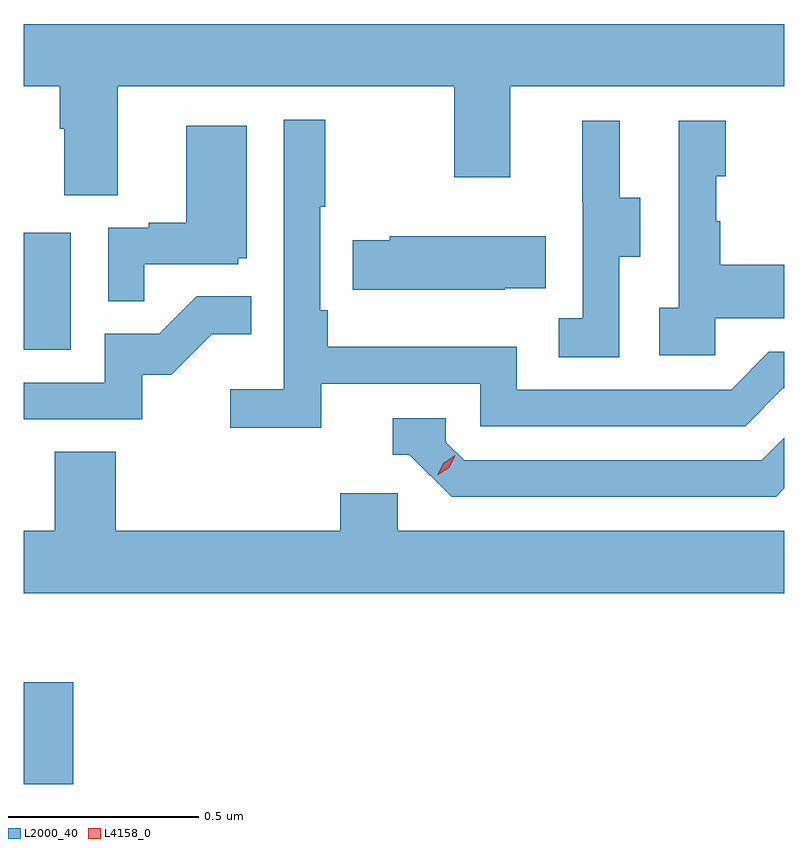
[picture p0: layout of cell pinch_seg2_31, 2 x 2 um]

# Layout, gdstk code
import gdstk
lib = gdstk.Library(unit=1e-6, precision=1e-09)
def R(c, l, rs):  # rectangles x0, y0, x1, y1
    for r in rs: c.add(gdstk.rectangle(r[:2], r[2:], *l))
def P(c, l, *ps):  # polygons
    for p in ps: c.add(gdstk.Polygon(p, *l))
L2000_40 = (2000, 40)
L4158_0 = (4158, 0)

pinch_seg2_31 = lib.new_cell('pinch_seg2_31')
R(pinch_seg2_31, L2000_40, [(1128.84,655.126,1128.97,655.393), (1128.84,656.268,1128.964,656.575)])
P(pinch_seg2_31, L2000_40, [(1129.087,656.96),(1129.972,656.96),(1129.972,656.721),(1130.119,656.721),(1130.119,656.96),(1130.84,656.96),(1130.84,657.124),(1128.84,657.124),(1128.84,656.96),(1128.935,656.96),(1128.935,656.848),(1128.947,656.848),(1128.947,656.674),(1129.087,656.674)],
  [(1129.622,656.178),(1130.04,656.178),(1130.04,656.067),(1130.737,656.067),(1130.836,656.166),(1130.84,656.166),(1130.84,656.262),(1130.799,656.262),(1130.7,656.163),(1130.136,656.163),(1130.136,656.275),(1129.64,656.275),(1129.64,656.371),(1129.62,656.371),(1129.62,656.644),(1129.633,656.644),(1129.633,656.872),(1129.524,656.872),(1129.524,656.164),(1129.383,656.164),(1129.383,656.062),(1129.622,656.062)],
  [(1130.406,656.512),(1130.461,656.512),(1130.461,656.667),(1130.407,656.667),(1130.407,656.869),(1130.309,656.869),(1130.309,656.655),(1130.31,656.655),(1130.31,656.351),(1130.247,656.351),(1130.247,656.248),(1130.406,656.248)],
  [(1130.658,656.351),(1130.84,656.351),(1130.84,656.491),(1130.671,656.491),(1130.671,656.606),(1130.661,656.606),(1130.661,656.724),(1130.686,656.724),(1130.686,656.869),(1130.562,656.869),(1130.562,656.378),(1130.511,656.378),(1130.511,656.253),(1130.658,656.253)],
  [(1129.157,656.493),(1129.404,656.493),(1129.404,656.508),(1129.426,656.508),(1129.426,656.857),(1129.268,656.857),(1129.268,656.602),(1129.169,656.602),(1129.169,656.589),(1129.062,656.589),(1129.062,656.395),(1129.157,656.395)],
  [(1130.105,656.429),(1130.213,656.429),(1130.213,656.566),(1129.803,656.566),(1129.803,656.556),(1129.705,656.556),(1129.705,656.426),(1130.105,656.426)],
  [(1129.152,656.202),(1129.228,656.202),(1129.335,656.309),(1129.439,656.309),(1129.439,656.408),(1129.295,656.408),(1129.197,656.31),(1129.053,656.31),(1129.053,656.181),(1128.84,656.181),(1128.84,656.085),(1129.152,656.085)],
  [(1130.84,655.903),(1130.84,656.036),(1130.781,655.977),(1129.998,655.977),(1129.95,656.025),(1129.95,656.088),(1129.811,656.088),(1129.811,655.992),(1129.854,655.992),(1129.965,655.881),(1130.818,655.881)],
  [(1130.84,655.792),(1129.824,655.792),(1129.824,655.89),(1129.673,655.89),(1129.673,655.792),(1129.082,655.792),(1129.082,656),(1128.922,656),(1128.922,655.792),(1128.84,655.792),(1128.84,655.628),(1130.84,655.628)])
P(pinch_seg2_31, L4158_0, [(1129.928,655.938),(1129.928,655.938),(1129.944,655.971),(1129.975,655.99),(1129.975,655.99),(1129.975,655.989),(1129.959,655.957),(1129.928,655.938)])

lib.write_gds('pinch_seg2_31.gds')
